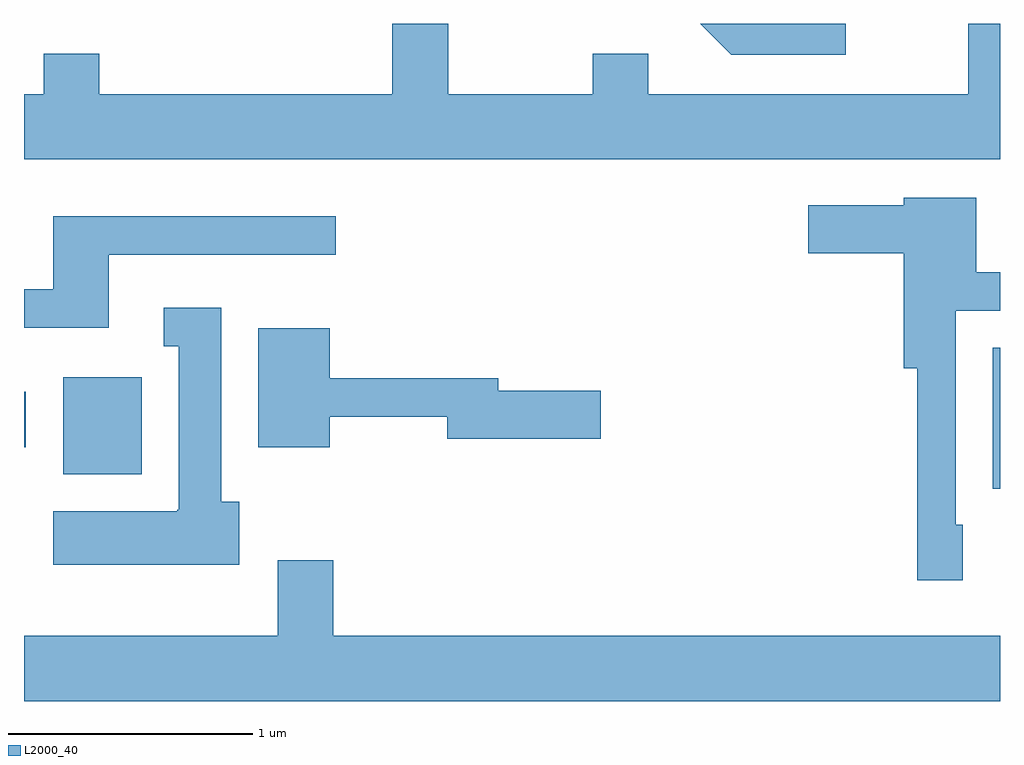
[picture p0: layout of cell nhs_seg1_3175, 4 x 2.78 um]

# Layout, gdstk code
import gdstk
lib = gdstk.Library(unit=1e-6, precision=1e-09)
def R(c, l, rs):  # rectangles x0, y0, x1, y1
    for r in rs: c.add(gdstk.rectangle(r[:2], r[2:], *l))
def P(c, l, *ps):  # polygons
    for p in ps: c.add(gdstk.Polygon(p, *l))
L2000_40 = (2000, 40)

nhs_seg1_3175 = lib.new_cell('nhs_seg1_3175')
R(nhs_seg1_3175, L2000_40, [(285.581,873.806,285.611,874.384), (281.771,873.866,282.094,874.264), (281.611,873.976,281.619,874.204)])
P(nhs_seg1_3175, L2000_40, [(285.611,875.712),(285.481,875.712),(285.481,875.424),(284.169,875.424),(284.169,875.589),(283.941,875.589),(283.941,875.424),(283.349,875.424),(283.349,875.712),(283.121,875.712),(283.121,875.424),(281.919,875.424),(281.919,875.589),(281.691,875.589),(281.691,875.424),(281.611,875.424),(281.611,875.156),(285.611,875.156)],
  [(284.978,875.712),(284.383,875.712),(284.509,875.586),(284.978,875.586)],
  [(285.459,873.659),(285.429,873.659),(285.429,874.536),(285.611,874.536),(285.611,874.694),(285.514,874.694),(285.514,874.999),(285.216,874.999),(285.216,874.969),(284.826,874.969),(284.826,874.771),(285.216,874.771),(285.216,874.301),(285.271,874.301),(285.271,873.431),(285.459,873.431)],
  [(281.959,874.766),(282.888,874.766),(282.888,874.924),(281.731,874.924),(281.731,874.624),(281.611,874.624),(281.611,874.466),(281.959,874.466)],
  [(282.494,873.754),(282.419,873.754),(282.419,874.549),(282.183,874.549),(282.183,874.391),(282.246,874.391),(282.246,873.72),(282.24,873.72),(282.24,873.714),(281.731,873.714),(281.731,873.496),(282.494,873.496)],
  [(282.864,874.101),(283.346,874.101),(283.346,874.011),(283.974,874.011),(283.974,874.209),(283.554,874.209),(283.554,874.259),(282.864,874.259),(282.864,874.464),(282.571,874.464),(282.571,873.976),(282.864,873.976)],
  [(285.611,873.204),(282.879,873.204),(282.879,873.514),(282.651,873.514),(282.651,873.204),(281.611,873.204),(281.611,872.936),(285.611,872.936)])

lib.write_gds('nhs_seg1_3175.gds')
